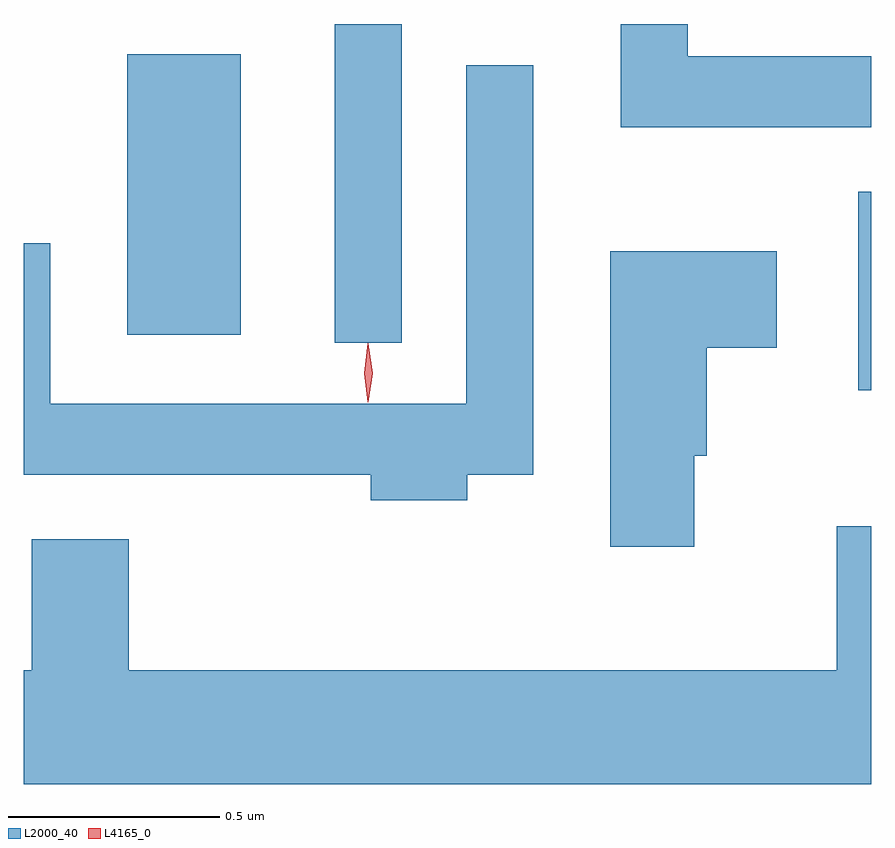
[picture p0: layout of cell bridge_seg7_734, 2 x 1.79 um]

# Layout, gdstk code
import gdstk
lib = gdstk.Library(unit=1e-6, precision=1e-09)
def R(c, l, rs):  # rectangles x0, y0, x1, y1
    for r in rs: c.add(gdstk.rectangle(r[:2], r[2:], *l))
def P(c, l, *ps):  # polygons
    for p in ps: c.add(gdstk.Polygon(p, *l))
L2000_40 = (2000, 40)
L4165_0 = (4165, 0)

bridge_seg7_734 = lib.new_cell('bridge_seg7_734')
R(bridge_seg7_734, L2000_40, [(593.651,1744.106,593.682,1744.574), (592.416,1744.218,592.574,1744.97), (591.926,1744.236,592.194,1744.899)])
P(bridge_seg7_734, L2000_40, [(593.682,1744.894),(593.249,1744.894),(593.249,1744.97),(593.091,1744.97),(593.091,1744.726),(593.682,1744.726)],
  [(592.729,1743.906),(592.884,1743.906),(592.884,1744.873),(592.726,1744.873),(592.726,1744.074),(591.744,1744.074),(591.744,1744.453),(591.682,1744.453),(591.682,1743.906),(592.501,1743.906),(592.501,1743.846),(592.729,1743.846)],
  [(593.264,1743.951),(593.294,1743.951),(593.294,1744.206),(593.459,1744.206),(593.459,1744.434),(593.066,1744.434),(593.066,1743.736),(593.264,1743.736)],
  [(593.682,1743.784),(593.601,1743.784),(593.601,1743.444),(591.929,1743.444),(591.929,1743.754),(591.701,1743.754),(591.701,1743.444),(591.682,1743.444),(591.682,1743.176),(593.682,1743.176)])
P(bridge_seg7_734, L4165_0, [(592.494,1744.077),(592.485,1744.146),(592.494,1744.216),(592.495,1744.216),(592.495,1744.216),(592.505,1744.146),(592.495,1744.077),(592.495,1744.077)],
  [(592.495,1744.079),(592.494,1744.08),(592.485,1744.146),(592.494,1744.212),(592.495,1744.213),(592.495,1744.212),(592.505,1744.146),(592.495,1744.08)])

lib.write_gds('bridge_seg7_734.gds')
